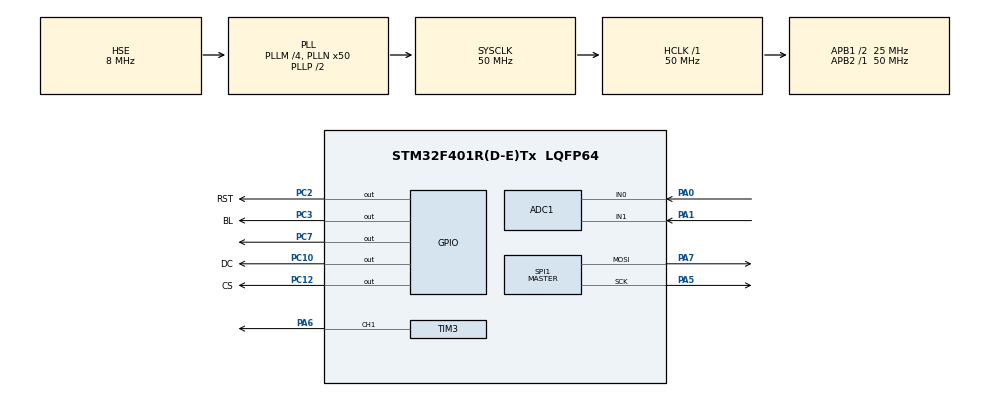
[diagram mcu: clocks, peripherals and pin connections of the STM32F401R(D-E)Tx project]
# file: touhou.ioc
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ADC1.Channel-0\#ChannelRegularConversion=ADC_CHANNEL_0
ADC1.Channel-1\#ChannelRegularConversion=ADC_CHANNEL_1
ADC1.ContinuousConvMode=DISABLE
ADC1.DMAContinuousRequests=DISABLE
ADC1.NbrOfConversion=2
ADC1.NbrOfConversionFlag=1
ADC1.Rank-0\#ChannelRegularConversion=1
ADC1.Rank-1\#ChannelRegularConversion=2
ADC1.SamplingTime-0\#ChannelRegularConversion=ADC_SAMPLETIME_15CYCLES
ADC1.SamplingTime-1\#ChannelRegularConversion=ADC_SAMPLETIME_15CYCLES
ADC1.ScanConvMode=ENABLE
ADC1.master=1
Dma.ADC1.1.Direction=DMA_PERIPH_TO_MEMORY
Dma.ADC1.1.FIFOMode=DMA_FIFOMODE_DISABLE
Dma.ADC1.1.Instance=DMA2_Stream0
Dma.ADC1.1.MemDataAlignment=DMA_MDATAALIGN_HALFWORD
Dma.ADC1.1.MemInc=DMA_MINC_ENABLE
Dma.ADC1.1.Mode=DMA_CIRCULAR
Dma.ADC1.1.PeriphDataAlignment=DMA_PDATAALIGN_HALFWORD
Dma.ADC1.1.PeriphInc=DMA_PINC_DISABLE
Dma.ADC1.1.Priority=DMA_PRIORITY_HIGH
Dma.Request0=SPI1_TX
Dma.Request1=ADC1
Dma.SPI1_TX.0.Direction=DMA_MEMORY_TO_PERIPH
Dma.SPI1_TX.0.FIFOMode=DMA_FIFOMODE_DISABLE
Dma.SPI1_TX.0.Instance=DMA2_Stream3
Dma.SPI1_TX.0.MemDataAlignment=DMA_MDATAALIGN_BYTE
Dma.SPI1_TX.0.MemInc=DMA_MINC_ENABLE
Dma.SPI1_TX.0.Mode=DMA_NORMAL
Dma.SPI1_TX.0.PeriphDataAlignment=DMA_PDATAALIGN_BYTE
Dma.SPI1_TX.0.PeriphInc=DMA_PINC_DISABLE
Dma.SPI1_TX.0.Priority=DMA_PRIORITY_VERY_HIGH
FREERTOS.Tasks01=defaultTask,24,128,StartDefaultTask,Default,NULL,Dynamic,NULL,NULL
FREERTOS.configTOTAL_HEAP_SIZE=90000
Mcu.Family=STM32F4
Mcu.Name=STM32F401R(D-E)Tx
Mcu.Package=LQFP64
NVIC.ADC_IRQn=true\:5\:0\:false\:false\:true\:true\:true\:true\:true
NVIC.DMA2_Stream0_IRQn=true\:5\:0\:false\:false\:true\:true\:false\:true\:true
NVIC.DMA2_Stream3_IRQn=true\:5\:0\:false\:false\:true\:true\:false\:true\:true
NVIC.PriorityGroup=NVIC_PRIORITYGROUP_4
NVIC.SPI1_IRQn=true\:5\:0\:false\:false\:true\:true\:true\:true\:true
NVIC.TIM1_UP_TIM10_IRQn=true\:15\:0\:false\:false\:true\:false\:false\:true\:true
NVIC.TimeBase=TIM1_UP_TIM10_IRQn
NVIC.TimeBaseIP=TIM1
PA0-WKUP.Signal=ADCx_IN0
PA1.Signal=ADCx_IN1
PA2.GPIO_Label=USART_TX
PA2.GPIO_Mode=GPIO_MODE_AF_PP
PA2.GPIO_PuPd=GPIO_NOPULL
PA2.GPIO_Speed=GPIO_SPEED_FREQ_LOW
PA2.Signal=USART2_TX
PA3.GPIO_Label=USART_RX
PA3.GPIO_Mode=GPIO_MODE_AF_PP
PA3.GPIO_PuPd=GPIO_NOPULL
PA3.GPIO_Speed=GPIO_SPEED_FREQ_LOW
PA3.Signal=USART2_RX
PA5.Mode=TX_Only_Simplex_Unidirect_Master
PA5.Signal=SPI1_SCK
PA6.Signal=S_TIM3_CH1
PA7.Mode=TX_Only_Simplex_Unidirect_Master
PA7.Signal=SPI1_MOSI
PC10.GPIO_Label=DC
PC10.Signal=GPIO_Output
PC12.GPIO_Label=CS
PC12.Signal=GPIO_Output
PC2.GPIO_Label=RST
PC2.Signal=GPIO_Output
PC3.GPIO_Label=BL
PC3.Signal=GPIO_Output
PC7.Signal=GPIO_Output
PH0\ -\ OSC_IN.Mode=HSE-External-Oscillator
PH0\ -\ OSC_IN.Signal=RCC_OSC_IN
PH1\ -\ OSC_OUT.Mode=HSE-External-Oscillator
PH1\ -\ OSC_OUT.Signal=RCC_OSC_OUT
ProjectManager.HeapSize=0x200
ProjectManager.StackSize=0x400
ProjectManager.TargetToolchain=CMake
RCC.48MHZClocksFreq_Value=14285714.285714285
RCC.AHBFreq_Value=50000000
RCC.APB1CLKDivider=RCC_HCLK_DIV2
RCC.APB1Freq_Value=25000000
RCC.APB1TimFreq_Value=50000000
RCC.APB2Freq_Value=50000000
RCC.APB2TimFreq_Value=50000000
RCC.CortexFreq_Value=50000000
RCC.HCLKFreq_Value=50000000
RCC.HSE_VALUE=8000000
RCC.HSI_VALUE=16000000
RCC.LSE_VALUE=32768
RCC.PLLM=4
RCC.PLLN=50
RCC.PLLQ=7
RCC.PLLSourceVirtual=RCC_PLLSOURCE_HSE
RCC.SYSCLKFreq_VALUE=50000000
RCC.SYSCLKSource=RCC_SYSCLKSOURCE_PLLCLK
RCC.VCOOutputFreq_Value=100000000
SH.ADCx_IN0.0=ADC1_IN0,IN0
SH.ADCx_IN1.0=ADC1_IN1,IN1
SH.S_TIM3_CH1.0=TIM3_CH1,PWM Generation1 CH1
SPI1.BaudRatePrescaler=SPI_BAUDRATEPRESCALER_2
SPI1.CLKPhase=SPI_PHASE_2EDGE
SPI1.CLKPolarity=SPI_POLARITY_HIGH
SPI1.DataSize=SPI_DATASIZE_8BIT
SPI1.Direction=SPI_DIRECTION_2LINES
SPI1.FirstBit=SPI_FIRSTBIT_MSB
SPI1.Mode=SPI_MODE_MASTER
SPI1.VirtualType=VM_MASTER
TIM3.AutoReloadPreload=TIM_AUTORELOAD_PRELOAD_ENABLE
TIM3.Channel-PWM\ Generation1\ CH1=TIM_CHANNEL_1
TIM3.Prescaler=83
VP_FREERTOS_VS_CMSIS_V2.Mode=CMSIS_V2
VP_SYS_VS_tim1.Mode=TIM1
VP_TIM3_VS_ClockSourceINT.Mode=Internal
board=NUCLEO-F401RE

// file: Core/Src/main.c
/* USER CODE BEGIN Header */
/**
  ******************************************************************************
  * @file           : main.c
  * @brief          : Main program body
  ******************************************************************************
  * @attention
  *
  * Copyright (c) 2024 STMicroelectronics.
  * All rights reserved.
  *
  * This software is licensed under terms that can be found in the LICENSE file
  * in the root directory of this software component.
  * If no LICENSE file comes with this software, it is provided AS-IS.
  *
  ******************************************************************************
  */
/* USER CODE END Header */
#include "main.h"
#include "cmsis_os.h"

/* USER CODE BEGIN Includes */
#include "stdint.h"
#include "song1.h"
#include "display.h"
#include "playerPosition.h"
#include "enemyBullets.h"
#include "collision.h"
#include "render.h"
#include <semphr.h>
#include "frames.h"
/* USER CODE END Includes */

ADC_HandleTypeDef hadc1;
DMA_HandleTypeDef hdma_adc1;

SPI_HandleTypeDef hspi1;
DMA_HandleTypeDef hdma_spi1_tx;

TIM_HandleTypeDef htim3;

/* Definitions for defaultTask */
osThreadId_t defaultTaskHandle;
const osThreadAttr_t defaultTask_attributes = {
  .name = "defaultTask",
  .stack_size = 128 * 4,
  .priority = (osPriority_t) osPriorityNormal,
};

void SystemClock_Config(void);
static void MX_GPIO_Init(void);
static void MX_DMA_Init(void);
static void MX_TIM3_Init(void);
static void MX_SPI1_Init(void);
static void MX_ADC1_Init(void);
void StartDefaultTask(void *argument);

/* USER CODE BEGIN 0 */
uint16_t adcBuff[2];
static void startADCConversion(void *argument);
static void jsCalibration(void *argument);
uint16_t playerPosition[2] = {120, 280};
struct enemyBullet bullets[10];
SemaphoreHandle_t renderFlag;
uint16_t js_x0;
uint16_t js_y0;

/* USER CODE END 0 */

int main(void)
{

  /* MCU Configuration--------------------------------------------------------*/

  /* Reset of all peripherals, Initializes the Flash interface and the Systick. */
  HAL_Init();

  /* Configure the system clock */
  SystemClock_Config();

  /* Initialize all configured peripherals */
  MX_GPIO_Init();
  MX_DMA_Init();
  MX_TIM3_Init();
  MX_SPI1_Init();
  MX_ADC1_Init();
  /* USER CODE BEGIN 2 */
  HAL_GPIO_WritePin(GPIOC, GPIO_PIN_7, 0);
  HAL_TIM_PWM_Start(&htim3, TIM_CHANNEL_1);

  LCDInit();
  LCDDisplayImage(framebuffer[0], 240, 320);
  HAL_Delay(3000);
  LCDClear(0xFFFF);
  renderFlag = xSemaphoreCreateMutex();

  /* USER CODE END 2 */

  /* Init scheduler */
  osKernelInitialize();

  /* Create the thread(s) */
  /* creation of defaultTask */
  defaultTaskHandle = osThreadNew(StartDefaultTask, NULL, &defaultTask_attributes);

  /* USER CODE BEGIN RTOS_THREADS */
  /* add threads, ... */
  osThreadNew(startADCConversion, NULL, NULL);
  osThreadNew(jsCalibration, NULL, NULL);
  osThreadNew(playSong1, NULL, NULL);
  osThreadNew(updatePlayerPosition, NULL, NULL);
  osThreadNew(enemyBullets, NULL,NULL);
  osThreadNew(collisionDetect, NULL, NULL);
  osThreadNew(render, NULL, NULL);
  /* USER CODE END RTOS_THREADS */

  /* Start scheduler */
  osKernelStart();

  /* We should never get here as control is now taken by the scheduler */

  /* Infinite loop */
  while (1)
  {

  }
}

void SystemClock_Config(void)
{
  RCC_OscInitTypeDef RCC_OscInitStruct = {0};
  RCC_ClkInitTypeDef RCC_ClkInitStruct = {0};

  /** Configure the main internal regulator output voltage
  */
  __HAL_RCC_PWR_CLK_ENABLE();
  __HAL_PWR_VOLTAGESCALING_CONFIG(PWR_REGULATOR_VOLTAGE_SCALE2);

  /** Initializes the RCC Oscillators according to the specified parameters
  * in the RCC_OscInitTypeDef structure.
  */
  RCC_OscInitStruct.OscillatorType = RCC_OSCILLATORTYPE_HSE;
  RCC_OscInitStruct.HSEState = RCC_HSE_ON;
  RCC_OscInitStruct.PLL.PLLState = RCC_PLL_ON;
  RCC_OscInitStruct.PLL.PLLSource = RCC_PLLSOURCE_HSE;
  RCC_OscInitStruct.PLL.PLLM = 4;
  RCC_OscInitStruct.PLL.PLLN = 50;
  RCC_OscInitStruct.PLL.PLLP = RCC_PLLP_DIV2;
  RCC_OscInitStruct.PLL.PLLQ = 7;
  if (HAL_RCC_OscConfig(&RCC_OscInitStruct) != HAL_OK)
  {
    Error_Handler();
  }

  /** Initializes the CPU, AHB and APB buses clocks
  */
  RCC_ClkInitStruct.ClockType = RCC_CLOCKTYPE_HCLK|RCC_CLOCKTYPE_SYSCLK
                              |RCC_CLOCKTYPE_PCLK1|RCC_CLOCKTYPE_PCLK2;
  RCC_ClkInitStruct.SYSCLKSource = RCC_SYSCLKSOURCE_PLLCLK;
  RCC_ClkInitStruct.AHBCLKDivider = RCC_SYSCLK_DIV1;
  RCC_ClkInitStruct.APB1CLKDivider = RCC_HCLK_DIV2;
  RCC_ClkInitStruct.APB2CLKDivider = RCC_HCLK_DIV1;

  if (HAL_RCC_ClockConfig(&RCC_ClkInitStruct, FLASH_LATENCY_1) != HAL_OK)
  {
    Error_Handler();
  }
}

static void MX_ADC1_Init(void)
{

  ADC_ChannelConfTypeDef sConfig = {0};

  /** Configure the global features of the ADC (Clock, Resolution, Data Alignment and number of conversion)
  */
  hadc1.Instance = ADC1;
  hadc1.Init.ClockPrescaler = ADC_CLOCK_SYNC_PCLK_DIV2;
  hadc1.Init.Resolution = ADC_RESOLUTION_12B;
  hadc1.Init.ScanConvMode = ENABLE;
  hadc1.Init.ContinuousConvMode = DISABLE;
  hadc1.Init.DiscontinuousConvMode = DISABLE;
  hadc1.Init.ExternalTrigConvEdge = ADC_EXTERNALTRIGCONVEDGE_NONE;
  hadc1.Init.ExternalTrigConv = ADC_SOFTWARE_START;
  hadc1.Init.DataAlign = ADC_DATAALIGN_RIGHT;
  hadc1.Init.NbrOfConversion = 2;
  hadc1.Init.DMAContinuousRequests = DISABLE;
  hadc1.Init.EOCSelection = ADC_EOC_SINGLE_CONV;
  if (HAL_ADC_Init(&hadc1) != HAL_OK)
  {
    Error_Handler();
  }

  /** Configure for the selected ADC regular channel its corresponding rank in the sequencer and its sample time.
  */
  sConfig.Channel = ADC_CHANNEL_0;
  sConfig.Rank = 1;
  sConfig.SamplingTime = ADC_SAMPLETIME_15CYCLES;
  if (HAL_ADC_ConfigChannel(&hadc1, &sConfig) != HAL_OK)
  {
    Error_Handler();
  }

  /** Configure for the selected ADC regular channel its corresponding rank in the sequencer and its sample time.
  */
  sConfig.Channel = ADC_CHANNEL_1;
  sConfig.Rank = 2;
  if (HAL_ADC_ConfigChannel(&hadc1, &sConfig) != HAL_OK)
  {
    Error_Handler();
  }

}

static void MX_SPI1_Init(void)
{

  /* SPI1 parameter configuration*/
  hspi1.Instance = SPI1;
  hspi1.Init.Mode = SPI_MODE_MASTER;
  hspi1.Init.Direction = SPI_DIRECTION_2LINES;
  hspi1.Init.DataSize = SPI_DATASIZE_8BIT;
  hspi1.Init.CLKPolarity = SPI_POLARITY_HIGH;
  hspi1.Init.CLKPhase = SPI_PHASE_2EDGE;
  hspi1.Init.NSS = SPI_NSS_SOFT;
  hspi1.Init.BaudRatePrescaler = SPI_BAUDRATEPRESCALER_2;
  hspi1.Init.FirstBit = SPI_FIRSTBIT_MSB;
  hspi1.Init.TIMode = SPI_TIMODE_DISABLE;
  hspi1.Init.CRCCalculation = SPI_CRCCALCULATION_DISABLE;
  hspi1.Init.CRCPolynomial = 10;
  if (HAL_SPI_Init(&hspi1) != HAL_OK)
  {
    Error_Handler();
  }

}

static void MX_TIM3_Init(void)
{

  TIM_ClockConfigTypeDef sClockSourceConfig = {0};
  TIM_MasterConfigTypeDef sMasterConfig = {0};
  TIM_OC_InitTypeDef sConfigOC = {0};

  htim3.Instance = TIM3;
  htim3.Init.Prescaler = 83;
  htim3.Init.CounterMode = TIM_COUNTERMODE_UP;
  htim3.Init.Period = 65535;
  htim3.Init.ClockDivision = TIM_CLOCKDIVISION_DIV1;
  htim3.Init.AutoReloadPreload = TIM_AUTORELOAD_PRELOAD_ENABLE;
  if (HAL_TIM_Base_Init(&htim3) != HAL_OK)
  {
    Error_Handler();
  }
  sClockSourceConfig.ClockSource = TIM_CLOCKSOURCE_INTERNAL;
  if (HAL_TIM_ConfigClockSource(&htim3, &sClockSourceConfig) != HAL_OK)
  {
    Error_Handler();
  }
  if (HAL_TIM_PWM_Init(&htim3) != HAL_OK)
  {
    Error_Handler();
  }
  sMasterConfig.MasterOutputTrigger = TIM_TRGO_RESET;
  sMasterConfig.MasterSlaveMode = TIM_MASTERSLAVEMODE_DISABLE;
  if (HAL_TIMEx_MasterConfigSynchronization(&htim3, &sMasterConfig) != HAL_OK)
  {
    Error_Handler();
  }
  sConfigOC.OCMode = TIM_OCMODE_PWM1;
  sConfigOC.Pulse = 0;
  sConfigOC.OCPolarity = TIM_OCPOLARITY_HIGH;
  sConfigOC.OCFastMode = TIM_OCFAST_DISABLE;
  if (HAL_TIM_PWM_ConfigChannel(&htim3, &sConfigOC, TIM_CHANNEL_1) != HAL_OK)
  {
    Error_Handler();
  }
  HAL_TIM_MspPostInit(&htim3);

}

static void MX_DMA_Init(void)
{

  /* DMA controller clock enable */
  __HAL_RCC_DMA2_CLK_ENABLE();

  /* DMA interrupt init */
  /* DMA2_Stream0_IRQn interrupt configuration */
  HAL_NVIC_SetPriority(DMA2_Stream0_IRQn, 5, 0);
  HAL_NVIC_EnableIRQ(DMA2_Stream0_IRQn);
  /* DMA2_Stream3_IRQn interrupt configuration */
  HAL_NVIC_SetPriority(DMA2_Stream3_IRQn, 5, 0);
  HAL_NVIC_EnableIRQ(DMA2_Stream3_IRQn);

}

static void MX_GPIO_Init(void)
{
  GPIO_InitTypeDef GPIO_InitStruct = {0};

  /* GPIO Ports Clock Enable */
  __HAL_RCC_GPIOH_CLK_ENABLE();
  __HAL_RCC_GPIOC_CLK_ENABLE();
  __HAL_RCC_GPIOA_CLK_ENABLE();

  /*Configure GPIO pin Output Level */
  HAL_GPIO_WritePin(GPIOC, RST_Pin|BL_Pin|GPIO_PIN_7|DC_Pin
                          |CS_Pin, GPIO_PIN_RESET);

  /*Configure GPIO pins : RST_Pin BL_Pin PC7 DC_Pin
                           CS_Pin */
  GPIO_InitStruct.Pin = RST_Pin|BL_Pin|GPIO_PIN_7|DC_Pin
                          |CS_Pin;
  GPIO_InitStruct.Mode = GPIO_MODE_OUTPUT_PP;
  GPIO_InitStruct.Pull = GPIO_NOPULL;
  GPIO_InitStruct.Speed = GPIO_SPEED_FREQ_LOW;
  HAL_GPIO_Init(GPIOC, &GPIO_InitStruct);

  /*Configure GPIO pins : USART_TX_Pin USART_RX_Pin */
  GPIO_InitStruct.Pin = USART_TX_Pin|USART_RX_Pin;
  GPIO_InitStruct.Mode = GPIO_MODE_AF_PP;
  GPIO_InitStruct.Pull = GPIO_NOPULL;
  GPIO_InitStruct.Speed = GPIO_SPEED_FREQ_LOW;
  GPIO_InitStruct.Alternate = GPIO_AF7_USART2;
  HAL_GPIO_Init(GPIOA, &GPIO_InitStruct);

}

/* USER CODE BEGIN 4 */

void startADCConversion(void *argument) {
  while(1) {
    HAL_ADC_Start_DMA(&hadc1, (uint32_t*)adcBuff, 2);
    osDelay(1);
  }
}

void jsCalibration(void *argument) {
  js_x0 = adcBuff[0];
  js_y0 = adcBuff[1];
  while(1);
}

/* USER CODE END 4 */

void StartDefaultTask(void *argument)
{
  for(;;)
  {
    osDelay(1);
  }
}

void HAL_TIM_PeriodElapsedCallback(TIM_HandleTypeDef *htim)
{
  if (htim->Instance == TIM1) {
    HAL_IncTick();
  }
}

void Error_Handler(void)
{
  __disable_irq();
  while (1)
  {
  }
}
